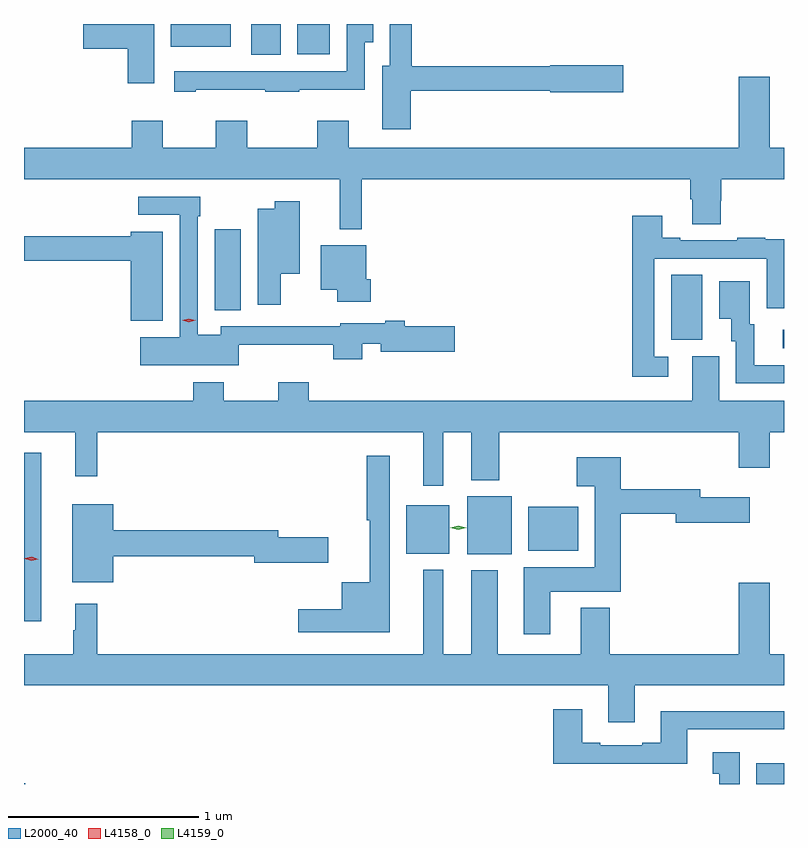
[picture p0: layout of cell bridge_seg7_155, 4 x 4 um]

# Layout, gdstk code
import gdstk
lib = gdstk.Library(unit=1e-6, precision=1e-09)
def R(c, l, rs):  # rectangles x0, y0, x1, y1
    for r in rs: c.add(gdstk.rectangle(r[:2], r[2:], *l))
def P(c, l, *ps):  # polygons
    for p in ps: c.add(gdstk.Polygon(p, *l))
L2000_40 = (2000, 40)
L4158_0 = (4158, 0)
L4159_0 = (4159, 0)

bridge_seg7_155 = lib.new_cell('bridge_seg7_155')
R(bridge_seg7_155, L2000_40, [(520.887,1025.404,520.894,1025.408), (524.741,1025.404,524.887,1025.512), (520.887,1026.26,520.978,1027.147), (523.22,1026.614,523.453,1026.919), (522.899,1026.617,523.126,1026.871), (523.541,1026.632,523.804,1026.862), (524.88,1027.698,524.887,1027.794), (524.294,1027.741,524.458,1028.084), (521.891,1027.897,522.028,1028.323), (522.083,1029.241,522.238,1029.404), (522.326,1029.245,522.496,1029.404), (521.66,1029.284,521.974,1029.404)])
P(bridge_seg7_155, L2000_40, [(521.572,1029.404),(521.198,1029.404),(521.198,1029.275),(521.432,1029.275),(521.432,1029.093),(521.572,1029.093)],
  [(521.791,1029.059),(522.157,1029.059),(522.157,1029.048),(522.335,1029.048),(522.335,1029.059),(522.681,1029.059),(522.681,1029.308),(522.724,1029.308),(522.724,1029.404),(522.585,1029.404),(522.585,1029.156),(521.679,1029.156),(521.679,1029.048),(521.791,1029.048)],
  [(522.923,1029.054),(523.656,1029.054),(523.656,1029.046),(524.041,1029.046),(524.041,1029.188),(523.656,1029.188),(523.656,1029.182),(522.929,1029.182),(522.929,1029.404),(522.813,1029.404),(522.813,1029.184),(522.773,1029.184),(522.773,1028.85),(522.923,1028.85)],
  [(522.665,1028.588),(524.393,1028.588),(524.393,1028.482),(524.405,1028.482),(524.405,1028.35),(524.553,1028.35),(524.553,1028.475),(524.558,1028.475),(524.558,1028.588),(524.887,1028.588),(524.887,1028.752),(524.812,1028.752),(524.812,1029.127),(524.648,1029.127),(524.648,1028.752),(522.595,1028.752),(522.595,1028.896),(522.431,1028.896),(522.431,1028.752),(522.061,1028.752),(522.061,1028.896),(521.897,1028.896),(521.897,1028.752),(521.617,1028.752),(521.617,1028.896),(521.453,1028.896),(521.453,1028.752),(520.887,1028.752),(520.887,1028.588),(522.548,1028.588),(522.548,1028.325),(522.665,1028.325)],
  [(522.018,1027.715),(522.515,1027.715),(522.515,1027.64),(522.667,1027.64),(522.667,1027.722),(522.764,1027.722),(522.764,1027.679),(523.153,1027.679),(523.153,1027.814),(522.892,1027.814),(522.892,1027.843),(522.788,1027.843),(522.788,1027.83),(522.552,1027.83),(522.552,1027.814),(522.334,1027.814),(522.334,1027.812),(521.922,1027.812),(521.922,1027.768),(521.802,1027.768),(521.802,1028.393),(521.815,1028.393),(521.815,1028.496),(521.487,1028.496),(521.487,1028.4),(521.706,1028.4),(521.706,1027.756),(521.499,1027.756),(521.499,1027.607),(522.018,1027.607)],
  [(522.238,1028.09),(522.337,1028.09),(522.337,1028.47),(522.208,1028.47),(522.208,1028.431),(522.116,1028.431),(522.116,1027.926),(522.238,1027.926)],
  [(524.278,1027.653),(524.205,1027.653),(524.205,1028.169),(524.796,1028.169),(524.796,1027.908),(524.887,1027.908),(524.887,1028.271),(524.789,1028.271),(524.789,1028.278),(524.641,1028.278),(524.641,1028.265),(524.341,1028.265),(524.341,1028.278),(524.245,1028.278),(524.245,1028.395),(524.089,1028.395),(524.089,1027.548),(524.278,1027.548)],
  [(521.617,1028.311),(521.45,1028.311),(521.45,1028.287),(520.887,1028.287),(520.887,1028.158),(521.45,1028.158),(521.45,1027.841),(521.617,1027.841)],
  [(522.713,1028.061),(522.688,1028.061),(522.688,1028.239),(522.449,1028.239),(522.449,1028.006),(522.535,1028.006),(522.535,1027.943),(522.713,1027.943)],
  [(524.887,1027.608),(524.731,1027.608),(524.731,1027.824),(524.707,1027.824),(524.707,1028.05),(524.546,1028.05),(524.546,1027.853),(524.609,1027.853),(524.609,1027.734),(524.634,1027.734),(524.634,1027.512),(524.887,1027.512)],
  [(523.093,1027.256),(523.241,1027.256),(523.241,1027.004),(523.389,1027.004),(523.389,1027.256),(524.648,1027.256),(524.648,1027.068),(524.812,1027.068),(524.812,1027.256),(524.887,1027.256),(524.887,1027.42),(524.545,1027.42),(524.545,1027.656),(524.405,1027.656),(524.405,1027.42),(522.386,1027.42),(522.386,1027.519),(522.226,1027.519),(522.226,1027.42),(521.937,1027.42),(521.937,1027.519),(521.777,1027.519),(521.777,1027.42),(520.887,1027.42),(520.887,1027.256),(521.156,1027.256),(521.156,1027.023),(521.273,1027.023),(521.273,1027.256),(522.989,1027.256),(522.989,1026.975),(523.093,1026.975)],
  [(522.811,1027.132),(522.69,1027.132),(522.69,1026.791),(522.707,1026.791),(522.707,1026.466),(522.56,1026.466),(522.56,1026.325),(522.33,1026.325),(522.33,1026.203),(522.811,1026.203)],
  [(523.657,1026.416),(524.027,1026.416),(524.027,1026.826),(524.318,1026.826),(524.318,1026.779),(524.707,1026.779),(524.707,1026.913),(524.446,1026.913),(524.446,1026.955),(524.027,1026.955),(524.027,1027.123),(523.797,1027.123),(523.797,1026.971),(523.892,1026.971),(523.892,1026.544),(523.517,1026.544),(523.517,1026.192),(523.657,1026.192)],
  [(521.356,1026.604),(522.098,1026.604),(522.098,1026.569),(522.487,1026.569),(522.487,1026.704),(522.226,1026.704),(522.226,1026.74),(521.356,1026.74),(521.356,1026.877),(521.141,1026.877),(521.141,1026.467),(521.356,1026.467)],
  [(524.101,1025.924),(524.887,1025.924),(524.887,1026.088),(524.812,1026.088),(524.812,1026.463),(524.648,1026.463),(524.648,1026.088),(523.97,1026.088),(523.97,1026.331),(523.817,1026.331),(523.817,1026.088),(523.381,1026.088),(523.381,1026.529),(523.241,1026.529),(523.241,1026.088),(523.093,1026.088),(523.093,1026.532),(522.989,1026.532),(522.989,1026.088),(521.273,1026.088),(521.273,1026.352),(521.156,1026.352),(521.156,1026.212),(521.145,1026.212),(521.145,1026.088),(520.887,1026.088),(520.887,1025.924),(523.961,1025.924),(523.961,1025.73),(524.101,1025.73)],
  [(524.377,1025.691),(524.887,1025.691),(524.887,1025.788),(524.237,1025.788),(524.237,1025.62),(524.141,1025.62),(524.141,1025.607),(523.921,1025.607),(523.921,1025.62),(523.825,1025.62),(523.825,1025.797),(523.673,1025.797),(523.673,1025.51),(524.377,1025.51)],
  [(524.653,1025.572),(524.513,1025.572),(524.513,1025.459),(524.546,1025.459),(524.546,1025.404),(524.653,1025.404)])
P(bridge_seg7_155, L4158_0, [(520.926,1026.579),(520.891,1026.59),(520.891,1026.591),(520.891,1026.591),(520.927,1026.599),(520.962,1026.588),(520.963,1026.587),(520.962,1026.587)],
  [(521.755,1027.834),(521.72,1027.844),(521.72,1027.844),(521.72,1027.844),(521.755,1027.854),(521.79,1027.844),(521.79,1027.844),(521.79,1027.844)])
P(bridge_seg7_155, L4159_0, [(523.172,1026.742),(523.131,1026.752),(523.131,1026.752),(523.131,1026.753),(523.172,1026.762),(523.214,1026.753),(523.214,1026.752),(523.214,1026.752)])

lib.write_gds('bridge_seg7_155.gds')
